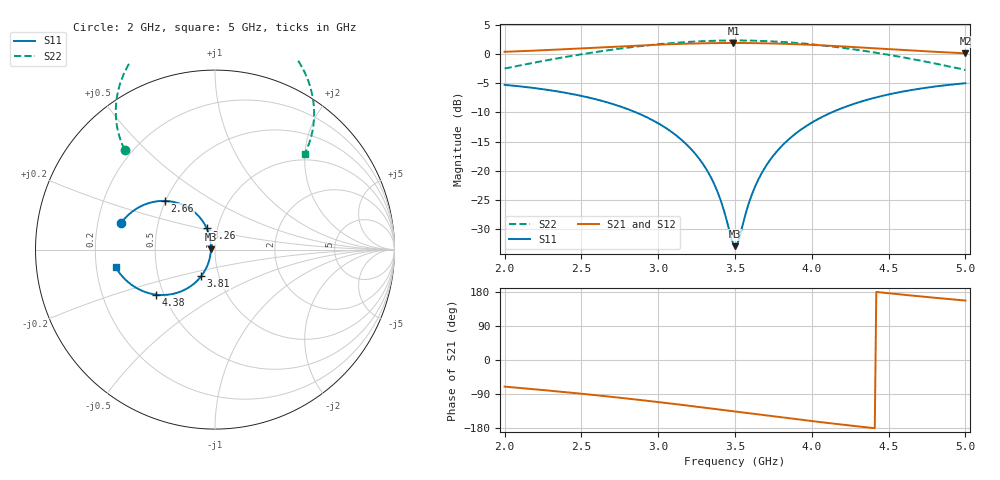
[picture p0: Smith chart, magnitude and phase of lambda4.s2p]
! Touchstone file exported from HFSS 2025.2.4
!  File:  C:/Users/hdung/OneDrive/Documents/261_KTSCT_L04_Nhom08/HFSS/Matching_EM3D_3p5GHz.aedt
!  Generated:  10:47:50 PM Nov 25, 2026
!  Design:  lambda4
!  Project:  Matching_EM3D_3p5GHz
!Data is not renormalized
# GHz S MA
! Terminal data exported
! Port[1] = P1
! Port[2] = P2
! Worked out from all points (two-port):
!   301 points, 2 GHz to 5 GHz, reference per port
!   highest |S21| = 1.87 dB at 3.49 GHz (marker M1); lowest = 0.1 dB at 5 GHz (marker M2)
!   |S21| within 3 dB of the highest: start of sweep to end of sweep
!   lowest |S11| = -32.9 dB at 3.5 GHz (marker M3), VSWR 1.05
!   |S11| at or under -10 dB: 2.856 GHz to 4.129 GHz (1.273 GHz wide, 36.5 % of centre)
!   |S22| runs from -2.7 to 2.3 dB; largest |S21 - S12| = 2.2e-14
!   S11 on the Smith chart (normalised r, x): 2 GHz: 0.30, +0.13; 2.66 GHz: 0.50, +0.32; 3.26 GHz: 0.88, +0.22; 3.81 GHz: 0.82, -0.25; 4.38 GHz: 0.46, -0.28; 5 GHz: 0.28, -0.08
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2  0.5439 164.2  1.043 -70.2  1.043 -70.2  0.7503 132.1
2.5  0.4377 142.8  1.116 -89.0  1.116 -89.0  0.9928 123.6
2.66  0.3882 135.7  1.143 -95.7  1.143 -95.7  1.069 119.5
3  0.2552 120.3  1.2 -111.0  1.2 -111.0  1.209 109.1
3.14  0.1901 114.6  1.219 -117.7  1.219 -117.7  1.253 104.1
3.26  0.1305 111.2  1.231 -123.7  1.231 -123.7  1.28 99.7
3.33  0.09483 111.2  1.236 -127.2  1.236 -127.2  1.292 97.0
3.38  0.06938 113.7  1.238 -129.8  1.238 -129.8  1.298 95.1
3.42  0.04964 119.5  1.24 -131.8  1.24 -131.8  1.301 93.5
3.49  0.02358 162.8  1.241 -135.4  1.241 -135.4  1.304 90.8
3.5  0.02272 175.5  1.241 -135.9  1.241 -135.9  1.304 90.4
3.52  0.02477 -159.7  1.24 -137.0  1.24 -137.0  1.304 89.6
3.58  0.04812 -124.8  1.239 -140.1  1.239 -140.1  1.301 87.2
3.64  0.07818 -116.9  1.236 -143.1  1.236 -143.1  1.296 84.9
3.72  0.1197 -115.5  1.231 -147.2  1.231 -147.2  1.284 81.8
3.81  0.166 -117.4  1.222 -151.8  1.222 -151.8  1.266 78.3
4  0.2588 -124.9  1.195 -161.2  1.195 -161.2  1.208 71.3
4.19  0.3415 -133.7  1.161 -170.2  1.161 -170.2  1.132 64.9
4.38  0.4122 -142.5  1.124 -178.7  1.124 -178.7  1.043 59.2
4.5  0.4505 -148.0  1.099 176.2  1.099 176.2  0.9828 56.0
4.73  0.5108 -158.3  1.056 166.9  1.056 166.9  0.8647 50.9
5  0.5618 -169.9  1.013 156.9  1.013 156.9  0.7294 46.9
